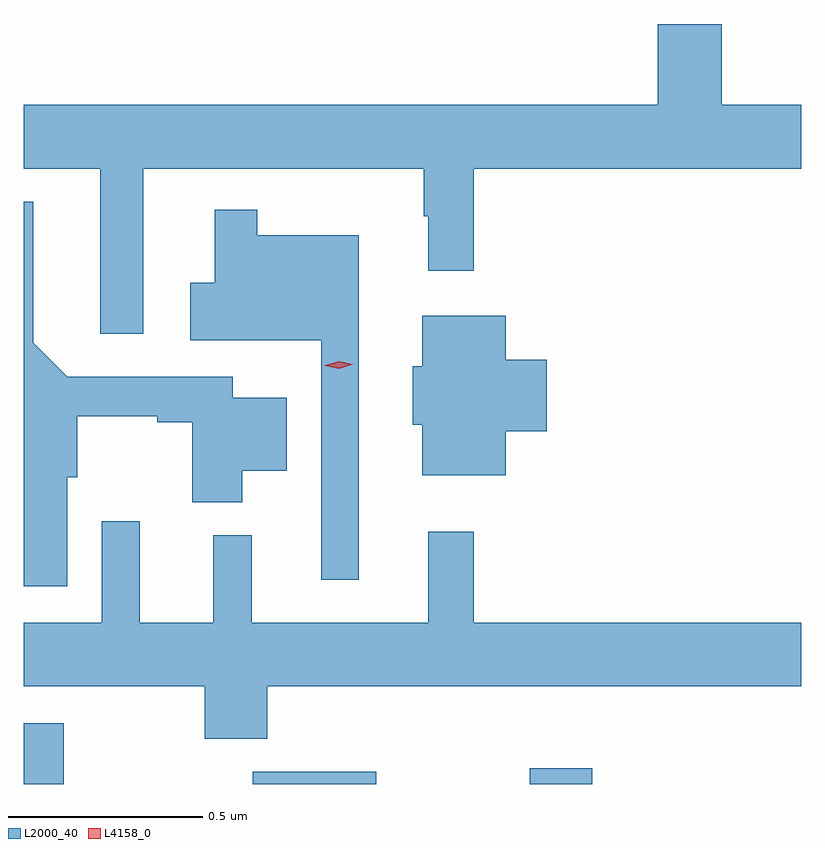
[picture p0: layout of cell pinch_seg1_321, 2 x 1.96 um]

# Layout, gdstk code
import gdstk
lib = gdstk.Library(unit=1e-6, precision=1e-09)
def R(c, l, rs):  # rectangles x0, y0, x1, y1
    for r in rs: c.add(gdstk.rectangle(r[:2], r[2:], *l))
def P(c, l, *ps):  # polygons
    for p in ps: c.add(gdstk.Polygon(p, *l))
L2000_40 = (2000, 40)
L4158_0 = (4158, 0)

pinch_seg1_321 = lib.new_cell('pinch_seg1_321')
R(pinch_seg1_321, L2000_40, [(986.316,555.477,986.419,555.633), (986.905,555.477,987.223,555.508), (987.617,555.477,987.778,555.517)])
P(pinch_seg1_321, L2000_40, [(986.623,557.06),(987.345,557.06),(987.345,556.937),(987.356,556.937),(987.356,556.797),(987.473,556.797),(987.473,557.06),(988.316,557.06),(988.316,557.224),(988.112,557.224),(988.112,557.432),(987.947,557.432),(987.947,557.224),(986.316,557.224),(986.316,557.06),(986.513,557.06),(986.513,556.635),(986.623,556.635)],
  [(986.428,556.266),(986.454,556.266),(986.454,556.423),(986.66,556.423),(986.66,556.408),(986.749,556.408),(986.749,556.202),(986.878,556.202),(986.878,556.283),(986.992,556.283),(986.992,556.471),(986.853,556.471),(986.853,556.524),(986.428,556.524),(986.341,556.612),(986.341,556.975),(986.316,556.975),(986.316,555.986),(986.428,555.986)],
  [(987.178,556.888),(986.917,556.888),(986.917,556.954),(986.807,556.954),(986.807,556.767),(986.744,556.767),(986.744,556.619),(987.081,556.619),(987.081,556.002),(987.178,556.002)],
  [(987.556,556.385),(987.661,556.385),(987.661,556.568),(987.556,556.568),(987.556,556.681),(987.341,556.681),(987.341,556.551),(987.317,556.551),(987.317,556.401),(987.341,556.401),(987.341,556.271),(987.556,556.271)],
  [(986.942,555.728),(988.316,555.728),(988.316,555.892),(987.473,555.892),(987.473,556.126),(987.356,556.126),(987.356,555.892),(986.903,555.892),(986.903,556.117),(986.804,556.117),(986.804,555.892),(986.615,555.892),(986.615,556.153),(986.517,556.153),(986.517,555.892),(986.316,555.892),(986.316,555.728),(986.782,555.728),(986.782,555.593),(986.942,555.593)])
P(pinch_seg1_321, L4158_0, [(987.128,556.545),(987.092,556.553),(987.092,556.553),(987.092,556.554),(987.127,556.565),(987.162,556.557),(987.162,556.557),(987.162,556.557)])

lib.write_gds('pinch_seg1_321.gds')
